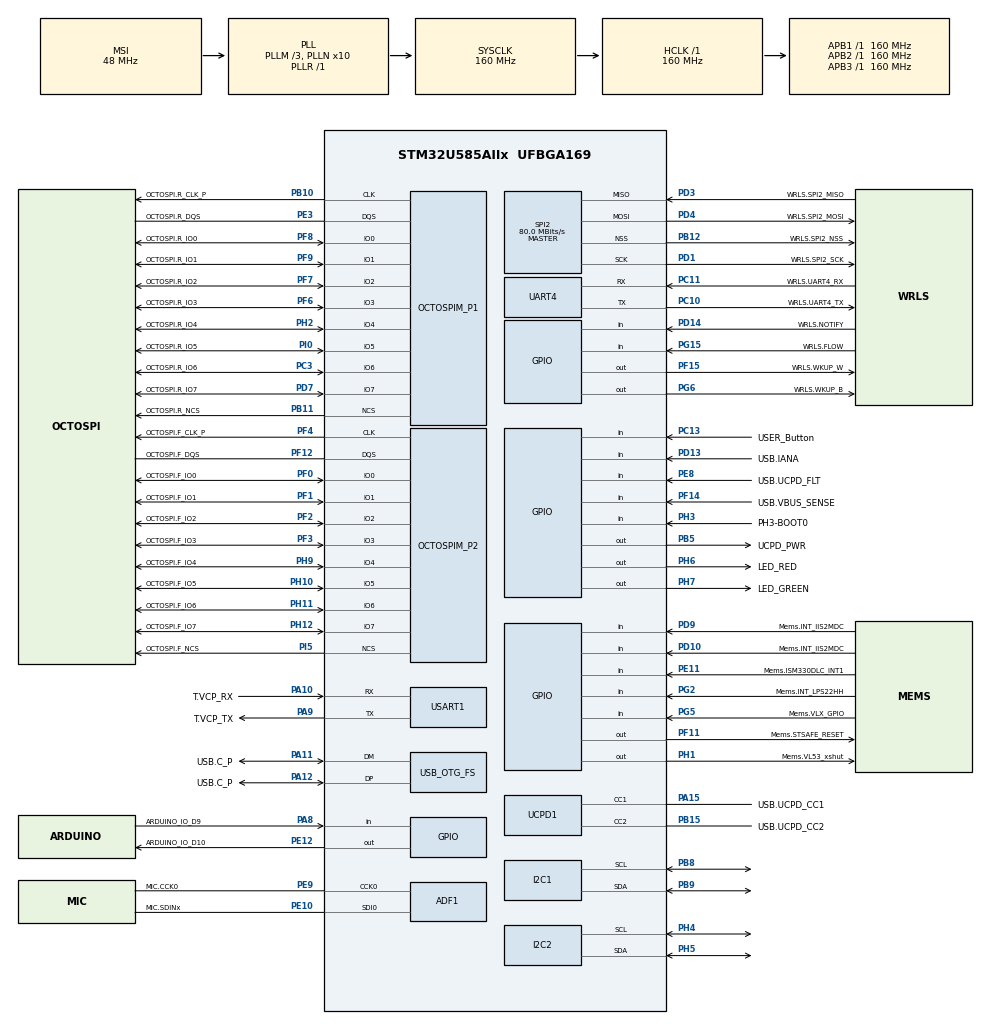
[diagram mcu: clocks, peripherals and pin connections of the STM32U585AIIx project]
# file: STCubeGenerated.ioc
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CORTEX_M33_NS.userName=CORTEX_M33
I2C1.Timing=0x30909DEC
I2C2.Timing=0x30909DEC
Mcu.Family=STM32U5
Mcu.Name=STM32U585AIIx
Mcu.Package=UFBGA169
NVIC.PriorityGroup=NVIC_PRIORITYGROUP_4
OCTOSPI1.ChipSelectBoundary=10
OCTOSPI1.ClockPrescaler=2
OCTOSPI1.DelayBlockBypass=HAL_OSPI_DELAY_BLOCK_USED
OCTOSPI1.DelayHoldQuarterCycle=HAL_OSPI_DHQC_ENABLE
OCTOSPI1.DeviceSize=24
OCTOSPI1.MemoryType=HAL_OSPI_MEMTYPE_APMEMORY
OCTOSPI1.Refresh=100
OCTOSPI2.ChipSelectBoundary=0
OCTOSPI2.ChipSelectHighTime=2
OCTOSPI2.ClockPrescaler=4
OCTOSPI2.DelayBlockBypass=HAL_OSPI_DELAY_BLOCK_USED
OCTOSPI2.DelayHoldQuarterCycle=HAL_OSPI_DHQC_ENABLE
OCTOSPI2.DeviceSize=26
OCTOSPI2.FifoThreshold=4
OCTOSPI2.MemoryType=HAL_OSPI_MEMTYPE_MACRONIX
PA10.GPIO_Label=T.VCP_RX
PA10.Mode=Asynchronous
PA10.Signal=USART1_RX
PA11.GPIO_Label=USB.C_P
PA11.Mode=Device_Only
PA11.Signal=USB_OTG_FS_DM
PA12.GPIO_Label=USB.C_P
PA12.Mode=Device_Only
PA12.Signal=USB_OTG_FS_DP
PA13\ (JTMS/SWDIO).GPIO_Label=T.SWDIO
PA13\ (JTMS/SWDIO).Mode=Trace_Asynchronous_SW
PA13\ (JTMS/SWDIO).Signal=DEBUG_JTMS-SWDIO
PA14\ (JTCK/SWCLK).GPIO_Label=T.SWCLK
PA14\ (JTCK/SWCLK).Mode=Trace_Asynchronous_SW
PA14\ (JTCK/SWCLK).Signal=DEBUG_JTCK-SWCLK
PA15\ (JTDI).GPIO_Label=USB.UCPD_CC1
PA15\ (JTDI).Mode=Dual_Role_AllSignals
PA15\ (JTDI).Signal=UCPD1_CC1
PA8.GPIO_Label=ARDUINO_IO_D9
PA8.Signal=GPIO_Input
PA9.GPIO_Label=T.VCP_TX
PA9.Mode=Asynchronous
PA9.Signal=USART1_TX
PB1.GPIO_Label=MIC.SDIN0
PB1.Signal=MDF1_SDI0
PB10.GPIO_Label=OCTOSPI.R_CLK_P
PB10.Mode=O1_P1_CLK
PB10.Signal=OCTOSPIM_P1_CLK
PB11.GPIO_Label=OCTOSPI.R_NCS
PB11.Mode=OCTOSPI1_Port1_NCS
PB11.Signal=OCTOSPIM_P1_NCS
PB12.GPIO_Label=WRLS.SPI2_NSS
PB12.Mode=NSS_Signal_Hard_Output
PB12.Signal=SPI2_NSS
PB15.GPIO_Label=USB.UCPD_CC2
PB15.Mode=Dual_Role_AllSignals
PB15.Signal=UCPD1_CC2
PB3\ (JTDO/TRACESWO).GPIO_Label=T.SWO
PB3\ (JTDO/TRACESWO).Mode=Trace_Asynchronous_SW
PB3\ (JTDO/TRACESWO).Signal=DEBUG_JTDO-SWO
PB5.GPIO_Label=UCPD_PWR
PB5.Signal=GPIO_Output
PB8.Mode=I2C
PB8.Signal=I2C1_SCL
PB9.Mode=I2C
PB9.Signal=I2C1_SDA
PC10.GPIO_Label=WRLS.UART4_TX
PC10.Mode=Asynchronous
PC10.Signal=UART4_TX
PC11.GPIO_Label=WRLS.UART4_RX
PC11.Mode=Asynchronous
PC11.Signal=UART4_RX
PC13.GPIO_Label=USER_Button
PC13.Signal=GPIO_Input
PC14-OSC32_IN\ (PC14).GPIO_Label=PC14-OSC32_IN
PC14-OSC32_IN\ (PC14).Mode=LSE-External-Oscillator
PC14-OSC32_IN\ (PC14).Signal=RCC_OSC32_IN
PC15-OSC32_OUT\ (PC15).GPIO_Label=PC15-OSC32_OUT
PC15-OSC32_OUT\ (PC15).Mode=LSE-External-Oscillator
PC15-OSC32_OUT\ (PC15).Signal=RCC_OSC32_OUT
PC3.GPIO_Label=OCTOSPI.R_IO6
PC3.Mode=OCTOSPI1_IOH_Port1H
PC3.Signal=OCTOSPIM_P1_IO6
PD1.GPIO_Label=WRLS.SPI2_SCK
PD1.Mode=Full_Duplex_Master
PD1.Signal=SPI2_SCK
PD10.GPIO_Label=Mems.INT_IIS2MDC
PD10.Signal=GPIO_Input
PD13.GPIO_Label=USB.IANA
PD13.Signal=GPIO_Input
PD14.GPIO_Label=WRLS.NOTIFY
PD14.Signal=GPIO_Input
PD3.GPIO_Label=WRLS.SPI2_MISO
PD3.Mode=Full_Duplex_Master
PD3.Signal=SPI2_MISO
PD4.GPIO_Label=WRLS.SPI2_MOSI
PD4.Mode=Full_Duplex_Master
PD4.Signal=SPI2_MOSI
PD7.GPIO_Label=OCTOSPI.R_IO7
PD7.Mode=OCTOSPI1_IOH_Port1H
PD7.Signal=OCTOSPIM_P1_IO7
PD9.GPIO_Label=Mems.INT_IIS2MDC
PD9.Signal=GPIO_Input
PE10.GPIO_Label=MIC.SDINx
PE10.Mode=MOD_ADF_CCK
PE10.Signal=ADF1_SDI0
PE11.GPIO_Label=Mems.ISM330DLC_INT1
PE11.Signal=GPIO_Input
PE12.GPIO_Label=ARDUINO_IO_D10
PE12.GPIO_Speed=GPIO_SPEED_FREQ_VERY_HIGH
PE12.PinState=GPIO_PIN_SET
PE12.Signal=GPIO_Output
PE3.GPIO_Label=OCTOSPI.R_DQS
PE3.Mode=OCTOSPI1_Port1_DQS
PE3.Signal=OCTOSPIM_P1_DQS
PE8.GPIO_Label=USB.UCPD_FLT
PE8.Signal=GPIO_Input
PE9.GPIO_Label=MIC.CCK0
PE9.Mode=MOD_MDF_CCK0
PE9.Signal=ADF1_CCK0
PF0.GPIO_Label=OCTOSPI.F_IO0
PF0.Mode=OCTOSPI2_IOL_Port2L
PF0.Signal=OCTOSPIM_P2_IO0
PF1.GPIO_Label=OCTOSPI.F_IO1
PF1.Mode=OCTOSPI2_IOL_Port2L
PF1.Signal=OCTOSPIM_P2_IO1
PF10.GPIO_Label=MIC.CCK1
PF10.Signal=MDF1_CCK1
PF11.GPIO_Label=Mems.STSAFE_RESET
PF11.Signal=GPIO_Output
PF12.GPIO_Label=OCTOSPI.F_DQS
PF12.Mode=OCTOSPI2_Port2_DQS
PF12.Signal=OCTOSPIM_P2_DQS
PF14.GPIO_Label=USB.VBUS_SENSE
PF14.Signal=GPIO_Input
PF15.GPIO_Label=WRLS.WKUP_W
PF15.Signal=GPIO_Output
PF2.GPIO_Label=OCTOSPI.F_IO2
PF2.Mode=OCTOSPI2_IOL_Port2L
PF2.Signal=OCTOSPIM_P2_IO2
PF3.GPIO_Label=OCTOSPI.F_IO3
PF3.Mode=OCTOSPI2_IOL_Port2L
PF3.Signal=OCTOSPIM_P2_IO3
PF4.GPIO_Label=OCTOSPI.F_CLK_P
PF4.Mode=O2_P2_CLK
PF4.Signal=OCTOSPIM_P2_CLK
PF6.GPIO_Label=OCTOSPI.R_IO3
PF6.Mode=OCTOSPI1_IOL_Port1L
PF6.Signal=OCTOSPIM_P1_IO3
PF7.GPIO_Label=OCTOSPI.R_IO2
PF7.Mode=OCTOSPI1_IOL_Port1L
PF7.Signal=OCTOSPIM_P1_IO2
PF8.GPIO_Label=OCTOSPI.R_IO0
PF8.Mode=OCTOSPI1_IOL_Port1L
PF8.Signal=OCTOSPIM_P1_IO0
PF9.GPIO_Label=OCTOSPI.R_IO1
PF9.Mode=OCTOSPI1_IOL_Port1L
PF9.Signal=OCTOSPIM_P1_IO1
PG15.GPIO_Label=WRLS.FLOW
PG15.Signal=GPIO_Input
PG2.GPIO_Label=Mems.INT_LPS22HH
PG2.Signal=GPIO_Input
PG5.GPIO_Label=Mems.VLX_GPIO
PG5.Signal=GPIO_Input
PG6.GPIO_Label=WRLS.WKUP_B
PG6.Signal=GPIO_Output
PH1-OSC_OUT\ (PH1).GPIO_Label=Mems.VL53_xshut
PH1-OSC_OUT\ (PH1).Signal=GPIO_Output
PH10.GPIO_Label=OCTOSPI.F_IO5
PH10.Mode=OCTOSPI2_IOH_Port2H
PH10.Signal=OCTOSPIM_P2_IO5
PH11.GPIO_Label=OCTOSPI.F_IO6
PH11.Mode=OCTOSPI2_IOH_Port2H
PH11.Signal=OCTOSPIM_P2_IO6
PH12.GPIO_Label=OCTOSPI.F_IO7
PH12.Mode=OCTOSPI2_IOH_Port2H
PH12.Signal=OCTOSPIM_P2_IO7
PH2.GPIO_Label=OCTOSPI.R_IO4
PH2.Mode=OCTOSPI1_IOH_Port1H
PH2.Signal=OCTOSPIM_P1_IO4
PH3-BOOT0.GPIO_Label=PH3-BOOT0
PH3-BOOT0.Signal=GPIO_Input
PH4.Mode=I2C
PH4.Signal=I2C2_SCL
PH5.Mode=I2C
PH5.Signal=I2C2_SDA
PH6.GPIO_Label=LED_RED
PH6.Signal=GPIO_Output
PH7.GPIO_Label=LED_GREEN
PH7.Signal=GPIO_Output
PH9.GPIO_Label=OCTOSPI.F_IO4
PH9.Mode=OCTOSPI2_IOH_Port2H
PH9.Signal=OCTOSPIM_P2_IO4
PI0.GPIO_Label=OCTOSPI.R_IO5
PI0.Mode=OCTOSPI1_IOH_Port1H
PI0.Signal=OCTOSPIM_P1_IO5
PI5.GPIO_Label=OCTOSPI.F_NCS
PI5.Mode=OCTOSPI2_Port2_NCS
PI5.Signal=OCTOSPIM_P2_NCS
ProjectManager.HeapSize=0x200
ProjectManager.StackSize=0x400
ProjectManager.TargetToolchain=MDK-ARM V5.32
RCC.AHBFreq_Value=160000000
RCC.APB1Freq_Value=160000000
RCC.APB1TimFreq_Value=160000000
RCC.APB2Freq_Value=160000000
RCC.APB2TimFreq_Value=160000000
RCC.APB3Freq_Value=160000000
RCC.CortexFreq_Value=160000000
RCC.DACCLockSelectionVirtual=RCC_DAC1CLKSOURCE_LSI
RCC.DACCLockSelectionVirtualString=RCC_DAC1CLKSOURCE_LSI
RCC.EPOD_VALUE=48000000
RCC.HCLKFreq_Value=160000000
RCC.HSE_VALUE=16000000
RCC.HSI48_VALUE=48000000
RCC.HSI_VALUE=16000000
RCC.LSIDIV_VALUE=32000
RCC.MSIClockRange=RCC_MSIRANGE_0
RCC.MSI_VALUE=48000000
RCC.PLL1R=1
RCC.PLL2FRACN=0
RCC.PLL3FRACN=0
RCC.PLLFRACN=0
RCC.PLLM=3
RCC.PLLN=10
RCC.SYSCLKFreq_VALUE=160000000
RCC.SYSCLKSource=RCC_SYSCLKSOURCE_PLLCLK
RCC.USBFreq_Value=48000000
RCC.VCOOutputFreq_Value=160000000
SPI2.CalculateBaudRate=80.0 MBits/s
SPI2.Direction=SPI_DIRECTION_2LINES
SPI2.Mode=SPI_MODE_MASTER
SPI2.VirtualNSS=VM_NSSHARD
SPI2.VirtualType=VM_MASTER
USART1.VirtualMode-Asynchronous=VM_ASYNC
USB_OTG_FS.VirtualMode=Device_Only
VP_ICACHE_VS_ICACHE.Mode=DefaultMode
VP_OCTOSPI1_VS_octo.Mode=octo_mode
VP_OCTOSPI2_VS_octo.Mode=octo_mode
VP_PWR_VS_DBSignals.Mode=DisableDeadBatterySignals
VP_PWR_VS_SECSignals.Mode=Security/Privilege
board=B-U585I-IOT02A

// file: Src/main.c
/* USER CODE BEGIN Header */
/**
  ******************************************************************************
  * @file           : main.c
  * @brief          : Main program body
  ******************************************************************************
  * @attention
  *
  * <h2><center>&copy; Copyright (c) 2021 STMicroelectronics.
  * All rights reserved.</center></h2>
  *
  * This software component is licensed by ST under BSD 3-Clause license,
  * the "License"; You may not use this file except in compliance with the
  * License. You may obtain a copy of the License at:
  *                        opensource.org/licenses/BSD-3-Clause
  *
  ******************************************************************************
  */
/* USER CODE END Header */
#include "main.h"

/* USER CODE BEGIN Includes */
#include "cmsis_os2.h"
#include "RTE_Components.h"
#ifdef    RTE_VIO_BOARD
#include "cmsis_vio.h"
#endif
#if defined(RTE_Compiler_EventRecorder)
#include "EventRecorder.h"
#endif
/* USER CODE END Includes */

MDF_HandleTypeDef AdfHandle0;
MDF_FilterConfigTypeDef AdfFilterConfig0;

I2C_HandleTypeDef hi2c1;
I2C_HandleTypeDef hi2c2;

OSPI_HandleTypeDef hospi1;
OSPI_HandleTypeDef hospi2;

SPI_HandleTypeDef hspi2;

UART_HandleTypeDef huart4;
UART_HandleTypeDef huart1;

PCD_HandleTypeDef hpcd_USB_OTG_FS;

void SystemClock_Config(void);
static void MX_GPIO_Init(void);
static void MX_ADF1_Init(void);
static void MX_I2C1_Init(void);
static void MX_I2C2_Init(void);
static void MX_OCTOSPI1_Init(void);
static void MX_OCTOSPI2_Init(void);
static void MX_SPI2_Init(void);
static void MX_UART4_Init(void);
static void MX_USART1_UART_Init(void);
static void MX_UCPD1_Init(void);
static void MX_USB_OTG_FS_PCD_Init(void);
static void MX_ICACHE_Init(void);

/* USER CODE BEGIN 0 */
/**
  * Override default HAL_GetTick function
  */
uint32_t HAL_GetTick (void) {
  static uint32_t ticks = 0U;
         uint32_t i;

  if (osKernelGetState () == osKernelRunning) {
    return ((uint32_t)osKernelGetTickCount());
  }

  /* If Kernel is not running wait approximately 1 ms then increment
     and return auxiliary tick counter value */
  for (i = (SystemCoreClock >> 14U); i > 0U; i--) {
    __NOP(); __NOP(); __NOP(); __NOP(); __NOP(); __NOP();
    __NOP(); __NOP(); __NOP(); __NOP(); __NOP(); __NOP();
  }
  return ++ticks;
}

/**
  * Override default HAL_InitTick function
  */
HAL_StatusTypeDef HAL_InitTick(uint32_t TickPriority) {

  UNUSED(TickPriority);

  return HAL_OK;
}
/* USER CODE END 0 */

int main(void)
{

  /* MCU Configuration--------------------------------------------------------*/

  /* Reset of all peripherals, Initializes the Flash interface and the Systick. */
  HAL_Init();
  HAL_PWREx_EnableVddIO2();

  /* Configure the system clock */
  SystemClock_Config();

  /* USER CODE BEGIN SysInit */
  SystemCoreClockUpdate();
  /* USER CODE END SysInit */

  /* Initialize all configured peripherals */
  MX_GPIO_Init();
  MX_ADF1_Init();
  MX_I2C1_Init();
  MX_I2C2_Init();
  MX_OCTOSPI1_Init();
  MX_OCTOSPI2_Init();
  MX_SPI2_Init();
  MX_UART4_Init();
  MX_USART1_UART_Init();
  MX_UCPD1_Init();
  MX_USB_OTG_FS_PCD_Init();
  MX_ICACHE_Init();
  /* USER CODE BEGIN 2 */
#ifdef RTE_VIO_BOARD
  vioInit();
#endif

#if defined(RTE_Compiler_EventRecorder) && \
    (defined(__MICROLIB) || \
    !(defined(RTE_CMSIS_RTOS2_RTX5) || defined(RTE_CMSIS_RTOS2_FreeRTOS)))
  EventRecorderInitialize(EventRecordAll, 1U);
#endif

  osKernelInitialize();                         /* Initialize CMSIS-RTOS2 */
  app_initialize();                             /* Initialize application */
  osKernelStart();                              /* Start thread execution */

  /* USER CODE END 2 */

  /* Infinite loop */
  while (1)
  {

  }
}

void SystemClock_Config(void)
{
  RCC_OscInitTypeDef RCC_OscInitStruct = {0};
  RCC_ClkInitTypeDef RCC_ClkInitStruct = {0};

  /** Configure the main internal regulator output voltage
  */
  if (HAL_PWREx_ControlVoltageScaling(PWR_REGULATOR_VOLTAGE_SCALE1) != HAL_OK)
  {
    Error_Handler();
  }
  /** Initializes the CPU, AHB and APB busses clocks
  */
  RCC_OscInitStruct.OscillatorType = RCC_OSCILLATORTYPE_HSI48|RCC_OSCILLATORTYPE_MSI;
  RCC_OscInitStruct.HSI48State = RCC_HSI48_ON;
  RCC_OscInitStruct.MSIState = RCC_MSI_ON;
  RCC_OscInitStruct.MSICalibrationValue = RCC_MSICALIBRATION_DEFAULT;
  RCC_OscInitStruct.MSIClockRange = RCC_MSIRANGE_0;
  RCC_OscInitStruct.PLL.PLLState = RCC_PLL_ON;
  RCC_OscInitStruct.PLL.PLLSource = RCC_PLLSOURCE_MSI;
  RCC_OscInitStruct.PLL.PLLMBOOST = RCC_PLLMBOOST_DIV4;
  RCC_OscInitStruct.PLL.PLLM = 3;
  RCC_OscInitStruct.PLL.PLLN = 10;
  RCC_OscInitStruct.PLL.PLLP = 2;
  RCC_OscInitStruct.PLL.PLLQ = 2;
  RCC_OscInitStruct.PLL.PLLR = 1;
  RCC_OscInitStruct.PLL.PLLRGE = RCC_PLLVCIRANGE_1;
  RCC_OscInitStruct.PLL.PLLFRACN = 0;
  if (HAL_RCC_OscConfig(&RCC_OscInitStruct) != HAL_OK)
  {
    Error_Handler();
  }
  /** Initializes the CPU, AHB and APB busses clocks
  */
  RCC_ClkInitStruct.ClockType = RCC_CLOCKTYPE_HCLK|RCC_CLOCKTYPE_SYSCLK
                              |RCC_CLOCKTYPE_PCLK1|RCC_CLOCKTYPE_PCLK2
                              |RCC_CLOCKTYPE_PCLK3;
  RCC_ClkInitStruct.SYSCLKSource = RCC_SYSCLKSOURCE_PLLCLK;
  RCC_ClkInitStruct.AHBCLKDivider = RCC_SYSCLK_DIV1;
  RCC_ClkInitStruct.APB1CLKDivider = RCC_HCLK_DIV1;
  RCC_ClkInitStruct.APB2CLKDivider = RCC_HCLK_DIV1;
  RCC_ClkInitStruct.APB3CLKDivider = RCC_HCLK_DIV1;

  if (HAL_RCC_ClockConfig(&RCC_ClkInitStruct, FLASH_LATENCY_4) != HAL_OK)
  {
    Error_Handler();
  }
  __HAL_RCC_PWR_CLK_DISABLE();
}

static void MX_ADF1_Init(void)
{

  /**
    AdfHandle0 structure initialization and HAL_MDF_Init function call
  */
  AdfHandle0.Instance = ADF1_Filter0;
  AdfHandle0.Init.CommonParam.ProcClockDivider = 1;
  AdfHandle0.Init.CommonParam.OutputClock.Activation = DISABLE;
  AdfHandle0.Init.SerialInterface.Activation = ENABLE;
  AdfHandle0.Init.SerialInterface.ClockSource = MDF_SITF_CCK0_SOURCE;
  AdfHandle0.Init.SerialInterface.Threshold = 4;
  AdfHandle0.Init.FilterBistream = MDF_BITSTREAM0_FALLING;
  if (HAL_MDF_Init(&AdfHandle0) != HAL_OK)
  {
    Error_Handler();
  }
  /**
    AdfFilterConfig0 structure initialization

    WARNING : only structure is filled, no specific init function call for filter
  */
  AdfFilterConfig0.DataSource = MDF_DATA_SOURCE_BSMX;
  AdfFilterConfig0.Delay = 0;
  AdfFilterConfig0.CicMode = MDF_ONE_FILTER_SINC4;
  AdfFilterConfig0.DecimationRatio = 2;
  AdfFilterConfig0.Gain = 0;
  AdfFilterConfig0.ReshapeFilter.Activation = DISABLE;
  AdfFilterConfig0.HighPassFilter.Activation = DISABLE;
  AdfFilterConfig0.SoundActivity.Activation = DISABLE;
  AdfFilterConfig0.AcquisitionMode = MDF_MODE_ASYNC_CONT;
  AdfFilterConfig0.FifoThreshold = MDF_FIFO_THRESHOLD_NOT_EMPTY;
  AdfFilterConfig0.DiscardSamples = 0;

}

static void MX_I2C1_Init(void)
{

  hi2c1.Instance = I2C1;
  hi2c1.Init.Timing = 0x30909DEC;
  hi2c1.Init.OwnAddress1 = 0;
  hi2c1.Init.AddressingMode = I2C_ADDRESSINGMODE_7BIT;
  hi2c1.Init.DualAddressMode = I2C_DUALADDRESS_DISABLE;
  hi2c1.Init.OwnAddress2 = 0;
  hi2c1.Init.OwnAddress2Masks = I2C_OA2_NOMASK;
  hi2c1.Init.GeneralCallMode = I2C_GENERALCALL_DISABLE;
  hi2c1.Init.NoStretchMode = I2C_NOSTRETCH_DISABLE;
  if (HAL_I2C_Init(&hi2c1) != HAL_OK)
  {
    Error_Handler();
  }
  /** Configure Analogue filter
  */
  if (HAL_I2CEx_ConfigAnalogFilter(&hi2c1, I2C_ANALOGFILTER_ENABLE) != HAL_OK)
  {
    Error_Handler();
  }
  /** Configure Digital filter
  */
  if (HAL_I2CEx_ConfigDigitalFilter(&hi2c1, 0) != HAL_OK)
  {
    Error_Handler();
  }

}

static void MX_I2C2_Init(void)
{

  hi2c2.Instance = I2C2;
  hi2c2.Init.Timing = 0x30909DEC;
  hi2c2.Init.OwnAddress1 = 0;
  hi2c2.Init.AddressingMode = I2C_ADDRESSINGMODE_7BIT;
  hi2c2.Init.DualAddressMode = I2C_DUALADDRESS_DISABLE;
  hi2c2.Init.OwnAddress2 = 0;
  hi2c2.Init.OwnAddress2Masks = I2C_OA2_NOMASK;
  hi2c2.Init.GeneralCallMode = I2C_GENERALCALL_DISABLE;
  hi2c2.Init.NoStretchMode = I2C_NOSTRETCH_DISABLE;
  if (HAL_I2C_Init(&hi2c2) != HAL_OK)
  {
    Error_Handler();
  }
  /** Configure Analogue filter
  */
  if (HAL_I2CEx_ConfigAnalogFilter(&hi2c2, I2C_ANALOGFILTER_ENABLE) != HAL_OK)
  {
    Error_Handler();
  }
  /** Configure Digital filter
  */
  if (HAL_I2CEx_ConfigDigitalFilter(&hi2c2, 0) != HAL_OK)
  {
    Error_Handler();
  }

}

static void MX_ICACHE_Init(void)
{

  /** Enable instruction cache (default 2-ways set associative cache)
  */
  if (HAL_ICACHE_Enable() != HAL_OK)
  {
    Error_Handler();
  }

}

static void MX_OCTOSPI1_Init(void)
{

  OSPIM_CfgTypeDef sOspiManagerCfg = {0};
  HAL_OSPI_DLYB_CfgTypeDef HAL_OSPI_DLYB_Cfg_Struct = {0};

  /* OCTOSPI1 parameter configuration*/
  hospi1.Instance = OCTOSPI1;
  hospi1.Init.FifoThreshold = 1;
  hospi1.Init.DualQuad = HAL_OSPI_DUALQUAD_DISABLE;
  hospi1.Init.MemoryType = HAL_OSPI_MEMTYPE_APMEMORY;
  hospi1.Init.DeviceSize = 24;
  hospi1.Init.ChipSelectHighTime = 1;
  hospi1.Init.FreeRunningClock = HAL_OSPI_FREERUNCLK_DISABLE;
  hospi1.Init.ClockMode = HAL_OSPI_CLOCK_MODE_0;
  hospi1.Init.WrapSize = HAL_OSPI_WRAP_NOT_SUPPORTED;
  hospi1.Init.ClockPrescaler = 2;
  hospi1.Init.SampleShifting = HAL_OSPI_SAMPLE_SHIFTING_NONE;
  hospi1.Init.DelayHoldQuarterCycle = HAL_OSPI_DHQC_ENABLE;
  hospi1.Init.ChipSelectBoundary = 10;
  hospi1.Init.DelayBlockBypass = HAL_OSPI_DELAY_BLOCK_USED;
  hospi1.Init.MaxTran = 0;
  hospi1.Init.Refresh = 100;
  if (HAL_OSPI_Init(&hospi1) != HAL_OK)
  {
    Error_Handler();
  }
  sOspiManagerCfg.ClkPort = 1;
  sOspiManagerCfg.DQSPort = 1;
  sOspiManagerCfg.NCSPort = 1;
  sOspiManagerCfg.IOLowPort = HAL_OSPIM_IOPORT_1_LOW;
  sOspiManagerCfg.IOHighPort = HAL_OSPIM_IOPORT_1_HIGH;
  if (HAL_OSPIM_Config(&hospi1, &sOspiManagerCfg, HAL_OSPI_TIMEOUT_DEFAULT_VALUE) != HAL_OK)
  {
    Error_Handler();
  }
  HAL_OSPI_DLYB_Cfg_Struct.Units = 0;
  HAL_OSPI_DLYB_Cfg_Struct.PhaseSel = 0;
  if (HAL_OSPI_DLYB_SetConfig(&hospi1, &HAL_OSPI_DLYB_Cfg_Struct) != HAL_OK)
  {
    Error_Handler();
  }

}

static void MX_OCTOSPI2_Init(void)
{

  OSPIM_CfgTypeDef sOspiManagerCfg = {0};
  HAL_OSPI_DLYB_CfgTypeDef HAL_OSPI_DLYB_Cfg_Struct = {0};

  /* OCTOSPI2 parameter configuration*/
  hospi2.Instance = OCTOSPI2;
  hospi2.Init.FifoThreshold = 4;
  hospi2.Init.DualQuad = HAL_OSPI_DUALQUAD_DISABLE;
  hospi2.Init.MemoryType = HAL_OSPI_MEMTYPE_MACRONIX;
  hospi2.Init.DeviceSize = 26;
  hospi2.Init.ChipSelectHighTime = 2;
  hospi2.Init.FreeRunningClock = HAL_OSPI_FREERUNCLK_DISABLE;
  hospi2.Init.ClockMode = HAL_OSPI_CLOCK_MODE_0;
  hospi2.Init.WrapSize = HAL_OSPI_WRAP_NOT_SUPPORTED;
  hospi2.Init.ClockPrescaler = 4;
  hospi2.Init.SampleShifting = HAL_OSPI_SAMPLE_SHIFTING_NONE;
  hospi2.Init.DelayHoldQuarterCycle = HAL_OSPI_DHQC_ENABLE;
  hospi2.Init.ChipSelectBoundary = 0;
  hospi2.Init.DelayBlockBypass = HAL_OSPI_DELAY_BLOCK_USED;
  hospi2.Init.MaxTran = 0;
  hospi2.Init.Refresh = 0;
  if (HAL_OSPI_Init(&hospi2) != HAL_OK)
  {
    Error_Handler();
  }
  sOspiManagerCfg.ClkPort = 2;
  sOspiManagerCfg.DQSPort = 2;
  sOspiManagerCfg.NCSPort = 2;
  sOspiManagerCfg.IOLowPort = HAL_OSPIM_IOPORT_2_LOW;
  sOspiManagerCfg.IOHighPort = HAL_OSPIM_IOPORT_2_HIGH;
  if (HAL_OSPIM_Config(&hospi2, &sOspiManagerCfg, HAL_OSPI_TIMEOUT_DEFAULT_VALUE) != HAL_OK)
  {
    Error_Handler();
  }
  HAL_OSPI_DLYB_Cfg_Struct.Units = 0;
  HAL_OSPI_DLYB_Cfg_Struct.PhaseSel = 0;
  if (HAL_OSPI_DLYB_SetConfig(&hospi2, &HAL_OSPI_DLYB_Cfg_Struct) != HAL_OK)
  {
    Error_Handler();
  }

}

static void MX_SPI2_Init(void)
{

  SPI_AutonomousModeConfTypeDef HAL_SPI_AutonomousMode_Cfg_Struct = {0};

  /* SPI2 parameter configuration*/
  hspi2.Instance = SPI2;
  hspi2.Init.Mode = SPI_MODE_MASTER;
  hspi2.Init.Direction = SPI_DIRECTION_2LINES;
  hspi2.Init.DataSize = SPI_DATASIZE_4BIT;
  hspi2.Init.CLKPolarity = SPI_POLARITY_LOW;
  hspi2.Init.CLKPhase = SPI_PHASE_1EDGE;
  hspi2.Init.NSS = SPI_NSS_HARD_OUTPUT;
  hspi2.Init.BaudRatePrescaler = SPI_BAUDRATEPRESCALER_2;
  hspi2.Init.FirstBit = SPI_FIRSTBIT_MSB;
  hspi2.Init.TIMode = SPI_TIMODE_DISABLE;
  hspi2.Init.CRCCalculation = SPI_CRCCALCULATION_DISABLE;
  hspi2.Init.CRCPolynomial = 0x7;
  hspi2.Init.NSSPMode = SPI_NSS_PULSE_ENABLE;
  hspi2.Init.NSSPolarity = SPI_NSS_POLARITY_LOW;
  hspi2.Init.FifoThreshold = SPI_FIFO_THRESHOLD_01DATA;
  hspi2.Init.TxCRCInitializationPattern = SPI_CRC_INITIALIZATION_ALL_ZERO_PATTERN;
  hspi2.Init.RxCRCInitializationPattern = SPI_CRC_INITIALIZATION_ALL_ZERO_PATTERN;
  hspi2.Init.MasterSSIdleness = SPI_MASTER_SS_IDLENESS_00CYCLE;
  hspi2.Init.MasterInterDataIdleness = SPI_MASTER_INTERDATA_IDLENESS_00CYCLE;
  hspi2.Init.MasterReceiverAutoSusp = SPI_MASTER_RX_AUTOSUSP_DISABLE;
  hspi2.Init.MasterKeepIOState = SPI_MASTER_KEEP_IO_STATE_DISABLE;
  hspi2.Init.IOSwap = SPI_IO_SWAP_DISABLE;
  hspi2.Init.ReadyMasterManagement = SPI_RDY_MASTER_MANAGEMENT_INTERNALLY;
  hspi2.Init.ReadyPolarity = SPI_RDY_POLARITY_HIGH;
  if (HAL_SPI_Init(&hspi2) != HAL_OK)
  {
    Error_Handler();
  }
  HAL_SPI_AutonomousMode_Cfg_Struct.TriggerState = SPI_AUTO_MODE_DISABLE;
  HAL_SPI_AutonomousMode_Cfg_Struct.TriggerSelection = SPI_GRP1_GPDMA_CH0_TCF_TRG;
  HAL_SPI_AutonomousMode_Cfg_Struct.TriggerPolarity = SPI_TRIG_POLARITY_RISING;
  if (HAL_SPIEx_SetConfigAutonomousMode(&hspi2, &HAL_SPI_AutonomousMode_Cfg_Struct) != HAL_OK)
  {
    Error_Handler();
  }

}

static void MX_UART4_Init(void)
{

  huart4.Instance = UART4;
  huart4.Init.BaudRate = 115200;
  huart4.Init.WordLength = UART_WORDLENGTH_8B;
  huart4.Init.StopBits = UART_STOPBITS_1;
  huart4.Init.Parity = UART_PARITY_NONE;
  huart4.Init.Mode = UART_MODE_TX_RX;
  huart4.Init.HwFlowCtl = UART_HWCONTROL_NONE;
  huart4.Init.OverSampling = UART_OVERSAMPLING_16;
  huart4.Init.OneBitSampling = UART_ONE_BIT_SAMPLE_DISABLE;
  huart4.Init.ClockPrescaler = UART_PRESCALER_DIV1;
  huart4.AdvancedInit.AdvFeatureInit = UART_ADVFEATURE_NO_INIT;
  if (HAL_UART_Init(&huart4) != HAL_OK)
  {
    Error_Handler();
  }
  if (HAL_UARTEx_SetTxFifoThreshold(&huart4, UART_TXFIFO_THRESHOLD_1_8) != HAL_OK)
  {
    Error_Handler();
  }
  if (HAL_UARTEx_SetRxFifoThreshold(&huart4, UART_RXFIFO_THRESHOLD_1_8) != HAL_OK)
  {
    Error_Handler();
  }
  if (HAL_UARTEx_DisableFifoMode(&huart4) != HAL_OK)
  {
    Error_Handler();
  }

}

static void MX_USART1_UART_Init(void)
{

  huart1.Instance = USART1;
  huart1.Init.BaudRate = 115200;
  huart1.Init.WordLength = UART_WORDLENGTH_8B;
  huart1.Init.StopBits = UART_STOPBITS_1;
  huart1.Init.Parity = UART_PARITY_NONE;
  huart1.Init.Mode = UART_MODE_TX_RX;
  huart1.Init.HwFlowCtl = UART_HWCONTROL_NONE;
  huart1.Init.OverSampling = UART_OVERSAMPLING_16;
  huart1.Init.OneBitSampling = UART_ONE_BIT_SAMPLE_DISABLE;
  huart1.Init.ClockPrescaler = UART_PRESCALER_DIV1;
  huart1.AdvancedInit.AdvFeatureInit = UART_ADVFEATURE_NO_INIT;
  if (HAL_UART_Init(&huart1) != HAL_OK)
  {
    Error_Handler();
  }
  if (HAL_UARTEx_SetTxFifoThreshold(&huart1, UART_TXFIFO_THRESHOLD_1_8) != HAL_OK)
  {
    Error_Handler();
  }
  if (HAL_UARTEx_SetRxFifoThreshold(&huart1, UART_RXFIFO_THRESHOLD_1_8) != HAL_OK)
  {
    Error_Handler();
  }
  if (HAL_UARTEx_DisableFifoMode(&huart1) != HAL_OK)
  {
    Error_Handler();
  }

}

static void MX_UCPD1_Init(void)
{

  LL_GPIO_InitTypeDef GPIO_InitStruct = {0};

  /* Peripheral clock enable */
  LL_APB1_GRP2_EnableClock(LL_APB1_GRP2_PERIPH_UCPD1);

  LL_AHB2_GRP1_EnableClock(LL_AHB2_GRP1_PERIPH_GPIOA);
  LL_AHB2_GRP1_EnableClock(LL_AHB2_GRP1_PERIPH_GPIOB);
  /**UCPD1 GPIO Configuration
  PA15 (JTDI)   ------> UCPD1_CC1
  PB15   ------> UCPD1_CC2
  */
  GPIO_InitStruct.Pin = LL_GPIO_PIN_15;
  GPIO_InitStruct.Mode = LL_GPIO_MODE_ANALOG;
  GPIO_InitStruct.Pull = LL_GPIO_PULL_NO;
  LL_GPIO_Init(GPIOA, &GPIO_InitStruct);

  GPIO_InitStruct.Pin = LL_GPIO_PIN_15;
  GPIO_InitStruct.Mode = LL_GPIO_MODE_ANALOG;
  GPIO_InitStruct.Pull = LL_GPIO_PULL_NO;
  LL_GPIO_Init(GPIOB, &GPIO_InitStruct);

}

static void MX_USB_OTG_FS_PCD_Init(void)
{

  hpcd_USB_OTG_FS.Instance = USB_OTG_FS;
  hpcd_USB_OTG_FS.Init.dev_endpoints = 6;
  hpcd_USB_OTG_FS.Init.phy_itface = PCD_PHY_EMBEDDED;
  hpcd_USB_OTG_FS.Init.Sof_enable = DISABLE;
  hpcd_USB_OTG_FS.Init.low_power_enable = DISABLE;
  hpcd_USB_OTG_FS.Init.lpm_enable = DISABLE;
  hpcd_USB_OTG_FS.Init.battery_charging_enable = DISABLE;
  hpcd_USB_OTG_FS.Init.use_dedicated_ep1 = DISABLE;
  hpcd_USB_OTG_FS.Init.vbus_sensing_enable = DISABLE;
  if (HAL_PCD_Init(&hpcd_USB_OTG_FS) != HAL_OK)
  {
    Error_Handler();
  }

}

static void MX_GPIO_Init(void)
{
  GPIO_InitTypeDef GPIO_InitStruct = {0};

  /* GPIO Ports Clock Enable */
  __HAL_RCC_GPIOG_CLK_ENABLE();
  __HAL_RCC_GPIOC_CLK_ENABLE();
  __HAL_RCC_GPIOA_CLK_ENABLE();
  __HAL_RCC_GPIOI_CLK_ENABLE();
  __HAL_RCC_GPIOH_CLK_ENABLE();
  __HAL_RCC_GPIOB_CLK_ENABLE();
  __HAL_RCC_GPIOD_CLK_ENABLE();
  __HAL_RCC_GPIOE_CLK_ENABLE();
  __HAL_RCC_GPIOF_CLK_ENABLE();

  /*Configure GPIO pin Output Level */
  HAL_GPIO_WritePin(UCPD_PWR_GPIO_Port, UCPD_PWR_Pin, GPIO_PIN_RESET);

  /*Configure GPIO pin Output Level */
  HAL_GPIO_WritePin(GPIOH, LED_RED_Pin|LED_GREEN_Pin|Mems_VL53_xshut_Pin, GPIO_PIN_RESET);

  /*Configure GPIO pin Output Level */
  HAL_GPIO_WritePin(WRLS_WKUP_B_GPIO_Port, WRLS_WKUP_B_Pin, GPIO_PIN_RESET);

  /*Configure GPIO pin Output Level */
  HAL_GPIO_WritePin(GPIOF, Mems_STSAFE_RESET_Pin|WRLS_WKUP_W_Pin, GPIO_PIN_RESET);

  /*Configure GPIO pin Output Level */
  HAL_GPIO_WritePin(ARDUINO_IO_D10_GPIO_Port, ARDUINO_IO_D10_Pin, GPIO_PIN_SET);

  /*Configure GPIO pins : WRLS_FLOW_Pin Mems_VLX_GPIO_Pin Mems_INT_LPS22HH_Pin */
  GPIO_InitStruct.Pin = WRLS_FLOW_Pin|Mems_VLX_GPIO_Pin|Mems_INT_LPS22HH_Pin;
  GPIO_InitStruct.Mode = GPIO_MODE_INPUT;
  GPIO_InitStruct.Pull = GPIO_NOPULL;
  HAL_GPIO_Init(GPIOG, &GPIO_InitStruct);

  /*Configure GPIO pin : PH3_BOOT0_Pin */
  GPIO_InitStruct.Pin = PH3_BOOT0_Pin;
  GPIO_InitStruct.Mode = GPIO_MODE_INPUT;
  GPIO_InitStruct.Pull = GPIO_NOPULL;
  HAL_GPIO_Init(PH3_BOOT0_GPIO_Port, &GPIO_InitStruct);

  /*Configure GPIO pin : UCPD_PWR_Pin */
  GPIO_InitStruct.Pin = UCPD_PWR_Pin;
  GPIO_InitStruct.Mode = GPIO_MODE_OUTPUT_PP;
  GPIO_InitStruct.Pull = GPIO_NOPULL;
  GPIO_InitStruct.Speed = GPIO_SPEED_FREQ_LOW;
  HAL_GPIO_Init(UCPD_PWR_GPIO_Port, &GPIO_InitStruct);

  /*Configure GPIO pin : USER_Button_Pin */
  GPIO_InitStruct.Pin = USER_Button_Pin;
  GPIO_InitStruct.Mode = GPIO_MODE_INPUT;
  GPIO_InitStruct.Pull = GPIO_NOPULL;
  HAL_GPIO_Init(USER_Button_GPIO_Port, &GPIO_InitStruct);

  /*Configure GPIO pins : LED_RED_Pin LED_GREEN_Pin Mems_VL53_xshut_Pin */
  GPIO_InitStruct.Pin = LED_RED_Pin|LED_GREEN_Pin|Mems_VL53_xshut_Pin;
  GPIO_InitStruct.Mode = GPIO_MODE_OUTPUT_PP;
  GPIO_InitStruct.Pull = GPIO_NOPULL;
  GPIO_InitStruct.Speed = GPIO_SPEED_FREQ_LOW;
  HAL_GPIO_Init(GPIOH, &GPIO_InitStruct);

  /*Configure GPIO pin : ARDUINO_IO_D9_Pin */
  GPIO_InitStruct.Pin = ARDUINO_IO_D9_Pin;
  GPIO_InitStruct.Mode = GPIO_MODE_INPUT;
  GPIO_InitStruct.Pull = GPIO_NOPULL;
  HAL_GPIO_Init(ARDUINO_IO_D9_GPIO_Port, &GPIO_InitStruct);

  /*Configure GPIO pin : MIC_CCK1_Pin */
  GPIO_InitStruct.Pin = MIC_CCK1_Pin;
  GPIO_InitStruct.Mode = GPIO_MODE_AF_PP;
  GPIO_InitStruct.Pull = GPIO_NOPULL;
  GPIO_InitStruct.Speed = GPIO_SPEED_FREQ_LOW;
  GPIO_InitStruct.Alternate = GPIO_AF6_MDF1;
  HAL_GPIO_Init(MIC_CCK1_GPIO_Port, &GPIO_InitStruct);

  /*Configure GPIO pin : WRLS_WKUP_B_Pin */
  GPIO_InitStruct.Pin = WRLS_WKUP_B_Pin;
  GPIO_InitStruct.Mode = GPIO_MODE_OUTPUT_PP;
  GPIO_InitStruct.Pull = GPIO_NOPULL;
  GPIO_InitStruct.Speed = GPIO_SPEED_FREQ_LOW;
  HAL_GPIO_Init(WRLS_WKUP_B_GPIO_Port, &GPIO_InitStruct);

  /*Configure GPIO pins : WRLS_NOTIFY_Pin Mems_INT_IIS2MDC_Pin USB_IANA_Pin Mems_INT_IIS2MDCD9_Pin */
  GPIO_InitStruct.Pin = WRLS_NOTIFY_Pin|Mems_INT_IIS2MDC_Pin|USB_IANA_Pin|Mems_INT_IIS2MDCD9_Pin;
  GPIO_InitStruct.Mode = GPIO_MODE_INPUT;
  GPIO_InitStruct.Pull = GPIO_NOPULL;
  HAL_GPIO_Init(GPIOD, &GPIO_InitStruct);

  /*Configure GPIO pins : USB_UCPD_FLT_Pin Mems_ISM330DLC_INT1_Pin */
  GPIO_InitStruct.Pin = USB_UCPD_FLT_Pin|Mems_ISM330DLC_INT1_Pin;
  GPIO_InitStruct.Mode = GPIO_MODE_INPUT;
  GPIO_InitStruct.Pull = GPIO_NOPULL;
  HAL_GPIO_Init(GPIOE, &GPIO_InitStruct);

  /*Configure GPIO pin : USB_VBUS_SENSE_Pin */
  GPIO_InitStruct.Pin = USB_VBUS_SENSE_Pin;
  GPIO_InitStruct.Mode = GPIO_MODE_INPUT;
  GPIO_InitStruct.Pull = GPIO_NOPULL;
  HAL_GPIO_Init(USB_VBUS_SENSE_GPIO_Port, &GPIO_InitStruct);

  /*Configure GPIO pins : Mems_STSAFE_RESET_Pin WRLS_WKUP_W_Pin */
  GPIO_InitStruct.Pin = Mems_STSAFE_RESET_Pin|WRLS_WKUP_W_Pin;
  GPIO_InitStruct.Mode = GPIO_MODE_OUTPUT_PP;
  GPIO_InitStruct.Pull = GPIO_NOPULL;
  GPIO_InitStruct.Speed = GPIO_SPEED_FREQ_LOW;
  HAL_GPIO_Init(GPIOF, &GPIO_InitStruct);

  /*Configure GPIO pin : MIC_SDIN0_Pin */
  GPIO_InitStruct.Pin = MIC_SDIN0_Pin;
  GPIO_InitStruct.Mode = GPIO_MODE_AF_PP;
  GPIO_InitStruct.Pull = GPIO_NOPULL;
  GPIO_InitStruct.Speed = GPIO_SPEED_FREQ_LOW;
  GPIO_InitStruct.Alternate = GPIO_AF6_MDF1;
  HAL_GPIO_Init(MIC_SDIN0_GPIO_Port, &GPIO_InitStruct);

  /*Configure GPIO pin : ARDUINO_IO_D10_Pin */
  GPIO_InitStruct.Pin = ARDUINO_IO_D10_Pin;
  GPIO_InitStruct.Mode = GPIO_MODE_OUTPUT_PP;
  GPIO_InitStruct.Pull = GPIO_NOPULL;
  GPIO_InitStruct.Speed = GPIO_SPEED_FREQ_VERY_HIGH;
  HAL_GPIO_Init(ARDUINO_IO_D10_GPIO_Port, &GPIO_InitStruct);

}

void Error_Handler(void)
{
  __disable_irq();
  while (1)
  {
  }
}
